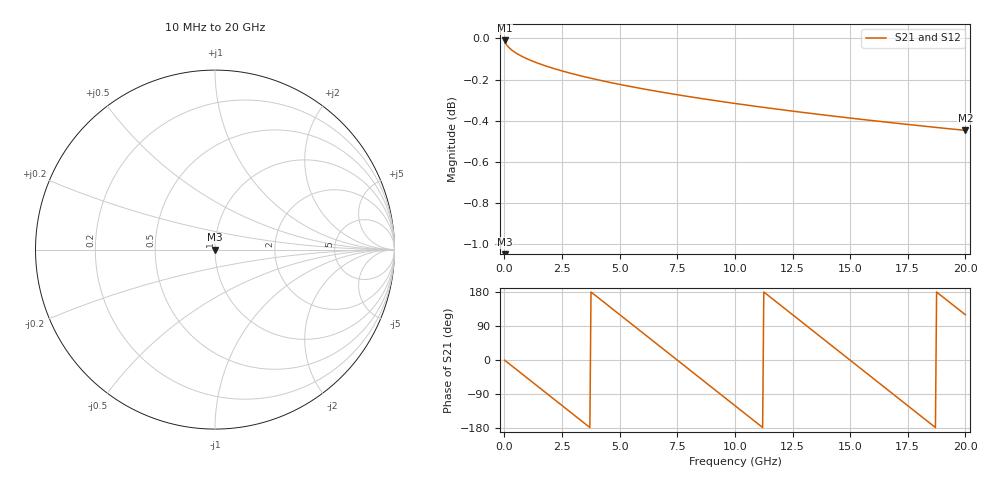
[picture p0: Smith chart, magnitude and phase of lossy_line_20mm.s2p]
! Created with skrf 2.1.0 (http://scikit-rf.org).
# GHz S RI R 50.0
!freq ReS11 ImS11 ReS21 ImS21 ReS12 ImS12 ReS22 ImS22
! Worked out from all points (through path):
!   401 points, 10 MHz to 20 GHz, reference 50 ohm
!   highest |S21| = -0.01 dB at 10 MHz (marker M1); lowest = -0.4 dB at 20 GHz (marker M2)
!   group delay of S21, straight-line fit = 133 ps
!   lowest |S11| = - dB at 10 MHz (marker M3), VSWR 1.00, Z = 50 + j0 ohm
!   |S11| at or under -10 dB: start of sweep to end of sweep
!   |S22| runs from - to - dB; largest |S21 - S12| = 0
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0.01  0 0  0.9988 -0.00837  0.9988 -0.00837  0 0
0.8096  0 0  0.7704 -0.6213  0.7704 -0.6213  0 0
1.759125  0 0  0.0945 -0.9803  0.0945 -0.9803  0 0
2.50875  0 0  -0.4984 -0.846  -0.4984 -0.846  0 0
3.358325  0 0  -0.9275 -0.3137  -0.9275 -0.3137  0 0
4.2079  0 0  -0.9048 0.3677  -0.9048 0.3677  0 0
5.2074  0 0  -0.3311 0.9161  -0.3311 0.9161  0 0
5.957025  0 0  0.2702 0.934  0.2702 0.934  0 0
6.70665  0 0  0.7663 0.5957  0.7663 0.5957  0 0
8.055975  0 0  0.8627 -0.4387  0.8627 -0.4387  0 0
9.055475  0 0  0.2506 -0.9329  0.2506 -0.9329  0 0
10.005  0 0  -0.4904 -0.8302  -0.4904 -0.8302  0 0
10.8046  0 0  -0.8988 -0.3454  -0.8988 -0.3454  0 0
11.55423  0 0  -0.9289 0.2487  -0.9289 0.2487  0 0
12.50375  0 0  -0.4714 0.8364  -0.4714 0.8364  0 0
13.35332  0 0  0.1896 0.9399  0.1896 0.9399  0 0
15.0025  0 0  0.9563 -0.0103  0.9563 -0.0103  0 0
15.75212  0 0  0.7667 -0.5699  0.7667 -0.5699  0 0
16.70165  0 0  0.1289 -0.9453  0.1289 -0.9453  0 0
17.50125  0 0  -0.4857 -0.8199  -0.4857 -0.8199  0 0
18.45078  0 0  -0.9245 -0.2262  -0.9245 -0.2262  0 0
20  0 0  -0.4653 0.828  -0.4653 0.828  0 0
